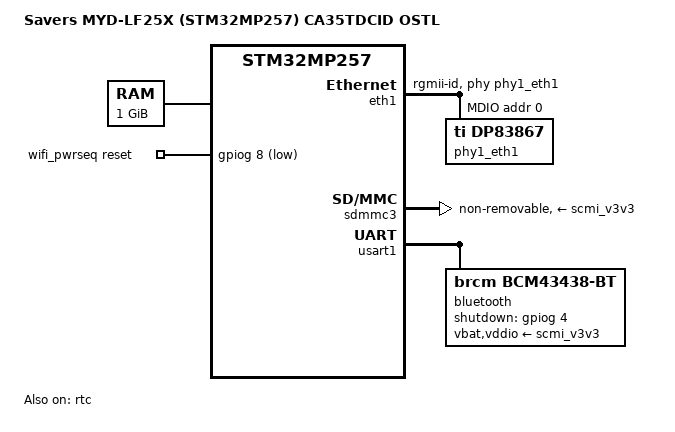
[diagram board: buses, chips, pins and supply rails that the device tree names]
// SPDX-License-Identifier: (GPL-2.0-only OR BSD-3-Clause)
/*
 * Copyright (C) Savers 2024 - All Rights Reserved
 *
 * Savers MYD-LF25X (Linux / CA35TDCID OSTL).
 *
 * Re-based onto MYiR's vanilla myb-stm32mp257x-1GB device tree (myb-base +
 * 1GB-resmem). MYiR's networking (myb-stm32mp257x-ethswitch.dtsi, dual
 * Motorcomm PHYs) is intentionally NOT included; the Savers carrier uses a
 * single TI DP83867 on eth1 instead (see &eth1 below).
 *
 * The reserved-memory carveouts come from MYiR's myb-stm32mp257x-1GB-resmem.dtsi
 * so they stay consistent with the rebased OP-TEE / U-Boot device trees.
 *
 * SoM: MYiR MYD-LF25X, STM32MP257F (AK package, kernel), 1GB LPDDR4.
 *
 * Board peripherals that were carried over from the original STM32MP257F-DK
 * copy (camera, Wi-Fi, USB hub, LEDs, ADC, USB-C, RTC, M33 examples) have been
 * dropped for a clean MYiR-based bring-up baseline; re-add them deliberately as
 * each is verified against the Savers schematic.
 */

/dts-v1/;

#include <dt-bindings/gpio/gpio.h>
#include <dt-bindings/net/ti-dp83867.h>
#include "myb-stm32mp257x-base.dtsi"
#include "myb-stm32mp257x-1GB-resmem.dtsi"
/* Carrier-board simple interfaces (I2C/USART/SPI/timers + GPIO names) from
 * STM32CubeMX (Savers.ioc). See the file header for scope/exclusions. */
#include "savers-myd-lf25x-ca35tdcid-ostl-mx.dtsi"

/ {
	model = "Savers MYD-LF25X (STM32MP257) CA35TDCID OSTL";
	compatible = "savers,savers-myd-lf25x", "st,myb-stm32mp257x-1GB",
		     "myir,myb-stm32mp257x-1GB", "myir,myd-lf25x", "st,stm32mp257";

	aliases {
		ethernet0 = &eth1;
		serial0 = &usart2;
	};

	chosen {
		stdout-path = "serial0:115200n8";
	};

	memory@80000000 {
		device_type = "memory";
		reg = <0x0 0x80000000 0x0 0x40000000>;
	};
};

/*
 * Savers Ethernet: single TI DP83867 on eth1 at MDIO address 0, using the
 * STM32MP257F-DK RGMII/MDIO pin group (eth1_rgmii_pins_b, which also carries
 * MDC/MDIO). The kernel SoC eth1 node is bare/disabled by default, so this
 * defines the MAC and MDIO bus from scratch.
 */
&eth1 {
	status = "okay";
	pinctrl-0 = <&eth1_rgmii_pins_b>;
	pinctrl-1 = <&eth1_rgmii_sleep_pins_b>;
	pinctrl-names = "default", "sleep";
	phy-mode = "rgmii-id";
	max-speed = <1000>;
	phy-handle = <&phy1_eth1>;
	st,eth-clk-sel;
	st,ext-phyclk = <&clk_ext_phy1>;
	snps,ext-systime;

	mdio1 {
		#address-cells = <1>;
		#size-cells = <0>;
		compatible = "snps,dwmac-mdio";

		/*
		 * Reset the DP83867 at the MDIO-bus level. __mdiobus_register()
		 * asserts/deasserts the bus "reset" GPIO BEFORE scanning the bus,
		 * so the PHY is awake when its ID is read. A reset-gpios in the
		 * PHY node would only be applied during phy_device registration,
		 * which for a generic "ti,dp83867" compatible happens AFTER the
		 * MDIO ID read in get_phy_device() -- too late, so the PHY is
		 * never seen and __stmmac_open() fails with -ENODEV.
		 * NB: the GPIO must live in only ONE node; a second gpiod request
		 * on PI4 from the PHY node would fail with -EBUSY.
		 */
		reset-gpios = <&gpioi 4 GPIO_ACTIVE_LOW>;	/* ETH1_PHY_RST (PI4) */
		reset-delay-us = <10000>;
		reset-post-delay-us = <80000>;

		phy1_eth1: ethernet-phy@0 {
			compatible = "ti,dp83867";
			reg = <0>;	/* DP83867 MDIO address strapped to 0 (confirmed: schematic + straps) */
			phy-mode = "rgmii-id";
			ti,rx-internal-delay = <DP83867_RGMIIDCTL_2_00_NS>;
			ti,tx-internal-delay = <DP83867_RGMIIDCTL_2_00_NS>;
			ti,fifo-depth = <DP83867_PHYCR_FIFO_DEPTH_4_B_NIB>;
		};
	};
};

/*
 * ---------------------------------------------------------------------------
 * Disable MYiR eval-board carrier peripherals inherited from
 * myb-stm32mp257x-base.dtsi. They sit on pins the Savers board reassigns
 * (CubeMX takes priority for GPIO/UART/SPI/...), so they are turned off here
 * to free those pins. The Savers carrier (WiFi/BT, USB-C mux, Ethernet)
 * follows the STM32MP257F-DK and is wired up separately.
 * ---------------------------------------------------------------------------
 */

/* Heartbeat LEDs (option C): keep led-green on PH4 (LED1) as a system-alive
 * blink; drop led-blue so PZ5 (SLED_LOADING) is free for the application. */
&{/gpio-leds} {
	/delete-node/ led-blue;
};

&{/gpio-keys} {
	status = "disabled";			/* MYiR eval button on PB15 */
};

&ov5640 {
	status = "disabled";			/* camera: PD0=STM_AX_SPI1_CS, PD2=STM_AX_EN2 */
};

&reg_cam_3V3 {
	status = "disabled";			/* camera 3V3 enable on PD1=SPI1_MISO */
};

&reg_bt_3V3 {
	status = "disabled";			/* MYiR BT 3V3 on PD7=LED_ILL; Savers BT = BT_REG_ON/PG4 */
};

&usdhc1_pwrseq {
	status = "disabled";			/* MYiR WiFi pwrseq reset on PD5=RGB1_G (DK wifi added later) */
};

&panel_lvds {
	status = "disabled";			/* MYiR LVDS panel (Savers uses an SPI display) */
};

&panel_dsi_backlight {
	status = "disabled";			/* backlight on PI5=SPI5_MOSI */
};

&panel_lvds_backlight {
	status = "disabled";			/* backlight on PH5=DISPLAY_DC */
};

&uart9 {
	status = "disabled";			/* MYiR extra UART; RTS on PI10=SLED_NEEDLING */
};

&i2c2 {
	stusb1600@28 {
		status = "disabled";		/* USB-C PD: reset PZ2=GP3, and no PD circuit on Savers */
	};
};

&i2c3 {
	/* MYiR's edt-ft5x06 touch is not compiled in (the gt911 variant is, and
	 * it's already disabled) -> PB0/SPI2_SCK is actually free. Only the lt9611
	 * HDMI bridge is active here. */
	hdmi-bridge@39 {
		status = "disabled";		/* lt9611 HDMI reset PI0=TAG_PRESENCE */
	};
};

/*
 * ---------------------------------------------------------------------------
 * WiFi / Bluetooth (Murata / Broadcom), wired like the STM32MP257F-DK — same
 * module and pins on the Savers board:
 *   WiFi   : SDMMC3 SDIO, WL_REG_ON = PG8 (wifi_pwrseq)
 *   BT     : USART1, BT_REG_ON = PG4 (shutdown-gpios)
 *   32 kHz : RTC LSCO on RTC_OUT2 (PI8) feeds the module's LPO
 * NOTE: the brcmfmac / Murata firmware blobs must be installed in the rootfs
 * (image recipe) for WiFi/BT to actually come up.
 * ---------------------------------------------------------------------------
 */
/ {
	wifi_pwrseq: wifi-pwrseq {
		compatible = "mmc-pwrseq-simple";
		reset-gpios = <&gpiog 8 GPIO_ACTIVE_LOW>;	/* WL_REG_ON (PG8) */
		clocks = <&rtc>;
		clock-names = "ext_clock";
	};
};

&rtc {
	#clock-cells = <0>;
	st,lsco = <RTC_OUT2_RMP>;			/* 32 kHz LPO out on RTC_OUT2 (PI8) */
	pinctrl-0 = <&rtc_out2_rmp_pins_a>;
	pinctrl-names = "default";
	status = "okay";
};

&sdmmc3 {
	/* Use the Savers/DK WL_REG_ON (PG8) pwrseq, not MYiR's disabled one (PD5). */
	mmc-pwrseq = <&wifi_pwrseq>;
	vmmc-supply = <&scmi_v3v3>;
	cap-sdio-irq;
	non-removable;
};

&usart1 {
	bluetooth {
		compatible = "brcm,bcm43438-bt";
		shutdown-gpios = <&gpiog 4 GPIO_ACTIVE_HIGH>;	/* BT_REG_ON (PG4) */
		clocks = <&rtc>;
		clock-names = "lpo";
		max-speed = <2000000>;
		vbat-supply = <&scmi_v3v3>;
		vddio-supply = <&scmi_v3v3>;
	};
};
